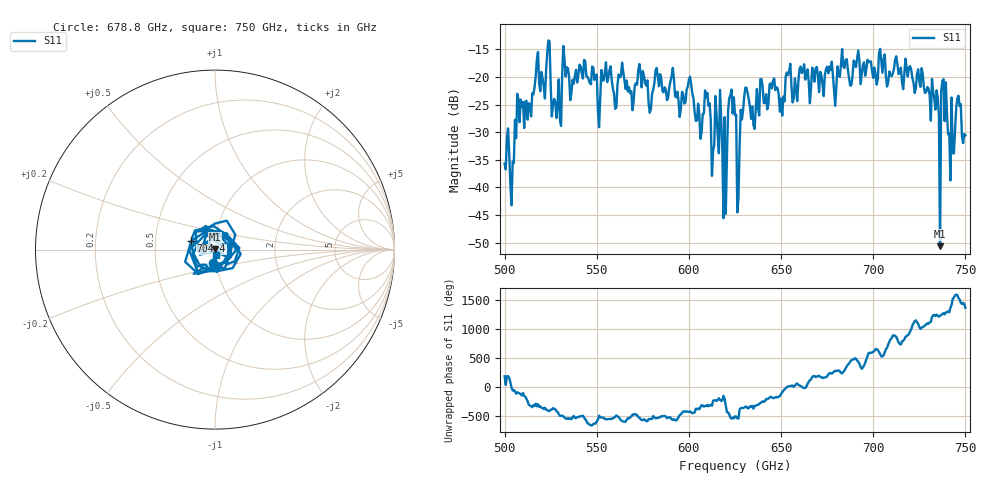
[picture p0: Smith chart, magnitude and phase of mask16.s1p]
!Created with skrf (http://scikit-rf.org).
# GHz S MA R 50.0
!freq magS11 angS11
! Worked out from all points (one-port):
!   401 points, 500 GHz to 750 GHz, reference 50 ohm
!   lowest |S11| = -50.6 dB at 736.2 GHz (marker M1), VSWR 1.01, Z = 49.8 + j0.175 ohm
!   |S11| at or under -10 dB: start of sweep to end of sweep
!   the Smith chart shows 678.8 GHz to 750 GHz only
!   S11 on the Smith chart (normalised r, x): 678.8 GHz: 0.96, -0.14; 704.4 GHz: 0.76, +0.07; 750 GHz: 1.01, -0.06
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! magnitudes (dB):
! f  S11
! 500 GHz  -35.7
! 503.8 GHz  -43.2
! 508.1 GHz  -28.2
! 517.5 GHz  -16.8
! 523.8 GHz  -13.4
! 526.9 GHz  -23.9
! 531.2 GHz  -19.4
! 562.5 GHz  -20.0
! 593.8 GHz  -22.6
! 600.6 GHz  -19.9
! 606.9 GHz  -30.0
! 610 GHz  -22.9
! 619.4 GHz  -27.2
! 622.5 GHz  -23.3
! 625 GHz  -26.9
! 627.5 GHz  -32.4
! 631.2 GHz  -22.0
! 635 GHz  -28.7
! 656.2 GHz  -24.6
! 678.8 GHz  -22.4
! 687.5 GHz  -21.6
! 704.4 GHz  -17.1
! 718.8 GHz  -19.9
! 736.2 GHz  -50.6
! 738.1 GHz  -20.4
! 742.5 GHz  -23.7
! 746.2 GHz  -23.4
! 750 GHz  -30.6
